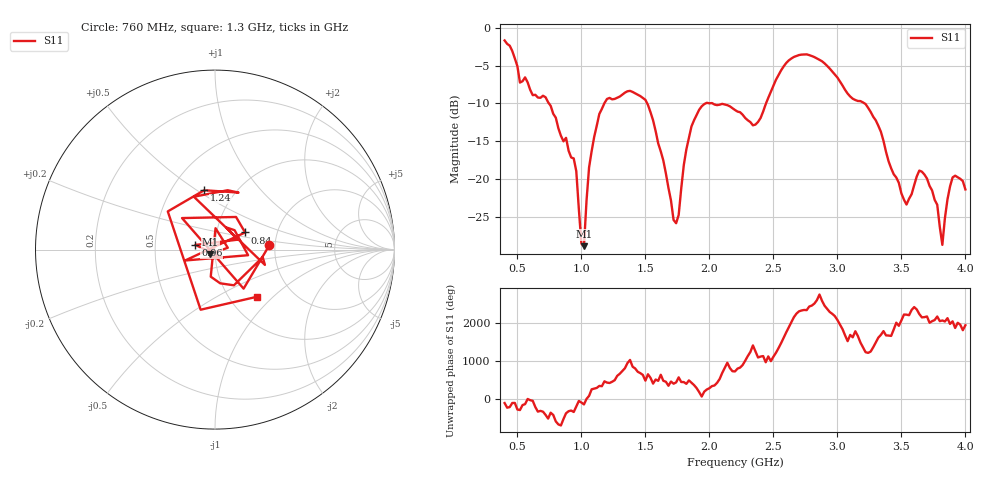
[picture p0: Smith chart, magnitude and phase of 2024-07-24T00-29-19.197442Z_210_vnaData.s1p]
!Created with skrf (http://scikit-rf.org).
# Hz S RI R 50.0
!freq ReS11 ImS11
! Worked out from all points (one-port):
!   181 points, 400 MHz to 4 GHz, reference 50 ohm
!   lowest |S11| = -28.9 dB at 1.02 GHz (marker M1), VSWR 1.07, Z = 47.4 - j2.36 ohm
!   |S11| at or under -10 dB: 746.1 MHz to 1.179 GHz (433.1 MHz wide, 45 % of centre); 1.514 GHz to 1.971 GHz (457.3 MHz wide, 26.2 % of centre); 3.212 GHz to end of sweep (the widest 3 of 4)
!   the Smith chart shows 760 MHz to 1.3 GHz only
!   S11 on the Smith chart (normalised r, x): 760 MHz: 1.87, +0.10; 840 MHz: 1.37, +0.27; 960 MHz: 0.80, +0.04; 1.24 GHz: 0.72, +0.54; 1.3 GHz: 1.33, -0.80
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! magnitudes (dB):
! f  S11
! 400 MHz  -1.7
! 520 MHz  -7.2
! 760 MHz  -10.3
! 840 MHz  -14.3
! 860 MHz  -15.0
! 960 MHz  -19.0
! 1 GHz  -28.6
! 1.02 GHz  -28.9
! 1.06 GHz  -18.5
! 1.1 GHz  -14.4
! 1.24 GHz  -9.5
! 1.3 GHz  -9.1
! 1.52 GHz  -10.2
! 1.72 GHz  -25.4
! 1.76 GHz  -24.8
! 1.82 GHz  -16.1
! 1.92 GHz  -10.8
! 2.2 GHz  -10.9
! 2.36 GHz  -12.8
! 2.66 GHz  -3.9
! 3.1 GHz  -9.1
! 3.3 GHz  -12.3
! 3.56 GHz  -22.6
! 3.68 GHz  -19.4
! 3.78 GHz  -23.4
! 3.82 GHz  -28.7
! 3.9 GHz  -19.8
! 4 GHz  -21.4
